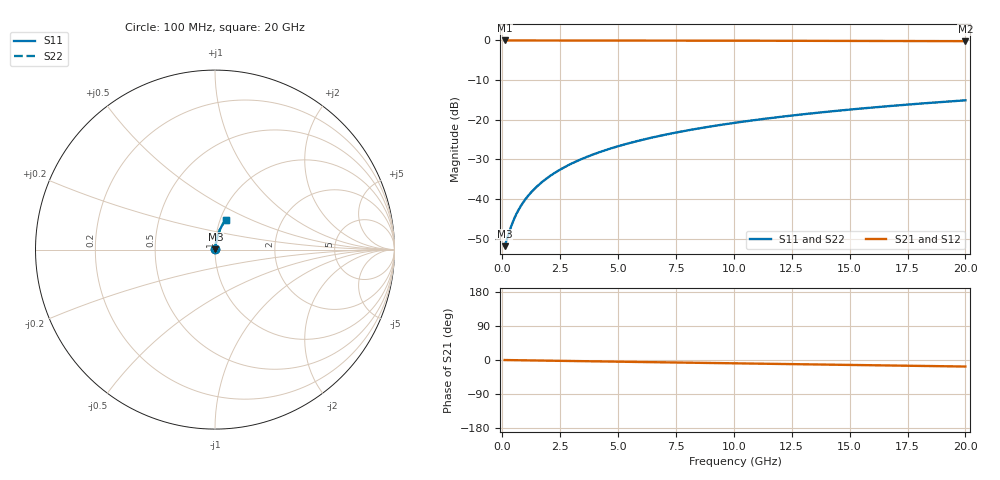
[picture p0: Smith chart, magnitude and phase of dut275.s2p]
! Touchstone file exported from HFSS 2026.1.0
!  File:  C:/ffzhzh/LocalFiles/Ansys_Project_Files/temp_train_BSMRDL_275_1782988998_41620.aedt
!  Generated:  06:44:32 PM Jul  2, 2026
!  Design:  BSMRDL
!  Project:  temp_train_BSMRDL_275_1782988998_41620
! Variables:
!  h_bsmrdl = 2.77um
!  h_ox = 20um
!  h_rdl = 5um
!  h_sub = 80um
!  h_tmrdl = 5um
!  h_tsv = 80um
!  h_via = 3um
!  l_bsmrdl = 228.77um
!  l_sub = 628.77um
!  l_tmrdl = 200um
!  m_sub = 200um
!  pitch = 31.16um
!  r_tsv = 6um
!  s_tmrdl = 10um
!  w_bsmrdl = 13.74um
!  w_sub = 500um
!  w_tmrdl = 12um
!  x_tsv_center1 = 206um
!  x_tsv_center2 = 448.51um
!  x_tsv_center3 = 660.51um
!  x_tsv_center4 = 903.02um
!  x_tsv_center5 = 1115.02um
!  x_tsv_center6 = 1357.53um
# GHz S MA R 50.000000
! Terminal data exported
! Port[1] = BSM_RDL1_1_T1
! Port[2] = BSM_RDL1_1_T2
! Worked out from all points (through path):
!   200 points, 100 MHz to 20 GHz, reference 50 ohm
!   highest |S21| = -0.02 dB at 100 MHz (marker M1); lowest = -0.2 dB at 20 GHz (marker M2)
!   group delay of S21, straight-line fit = 2.4 ps
!   lowest |S11| = -51.9 dB at 100 MHz (marker M3), VSWR 1.01, Z = 50.2 + j0.101 ohm
!   |S11| at or under -10 dB: start of sweep to end of sweep
!   |S22| runs from -51.9 to -15.1 dB; largest |S21 - S12| = 3.4e-15
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0.1  0.00255 23.3  0.9977 -0.1  0.9977 -0.1  0.00255 23.3
! Gamma 0 0 0 0
! Port Impedance 50 0 50 0
0.4  0.004679 57.8  0.9975 -0.4  0.9975 -0.4  0.00468 57.8
0.5  0.00554 62.5  0.9975 -0.5  0.9975 -0.5  0.00554 62.4
0.6  0.006416 65.8  0.9974 -0.5  0.9974 -0.5  0.006416 65.8
0.7  0.007299 68.3  0.9973 -0.6  0.9973 -0.6  0.007298 68.3
0.9  0.009074 71.9  0.9973 -0.8  0.9973 -0.8  0.009073 71.8
1.2  0.01175 75.2  0.9971 -1.1  0.9971 -1.1  0.01175 75.2
1.4  0.01355 76.6  0.9971 -1.3  0.9971 -1.3  0.01355 76.6
1.7  0.01625 78.2  0.997 -1.5  0.997 -1.5  0.01625 78.2
2.2  0.02079 79.8  0.9968 -2.0  0.9968 -2.0  0.02079 79.8
2.8  0.02626 80.8  0.9966 -2.5  0.9966 -2.5  0.02626 80.8
3.5  0.03265 81.3  0.9963 -3.1  0.9963 -3.1  0.03265 81.3
4.2  0.03904 81.4  0.9959 -3.7  0.9959 -3.7  0.03904 81.4
5  0.04633 81.3  0.9955 -4.4  0.9955 -4.4  0.04633 81.3
5.9  0.0545 80.9  0.9949 -5.2  0.9949 -5.2  0.0545 80.9
6.8  0.06262 80.5  0.9942 -6.0  0.9942 -6.0  0.06262 80.5
8.3  0.07606 79.5  0.9929 -7.3  0.9929 -7.3  0.07606 79.5
10.1  0.09199 78.2  0.991 -8.9  0.991 -8.9  0.09199 78.2
11.7  0.106 77.0  0.9892 -10.2  0.9892 -10.2  0.106 77.0
13.4  0.1206 75.6  0.9871 -11.7  0.9871 -11.7  0.1206 75.7
16.7  0.1485 73.0  0.9825 -14.5  0.9825 -14.5  0.1485 73.1
20  0.1756 70.4  0.9774 -17.3  0.9774 -17.3  0.1756 70.5
